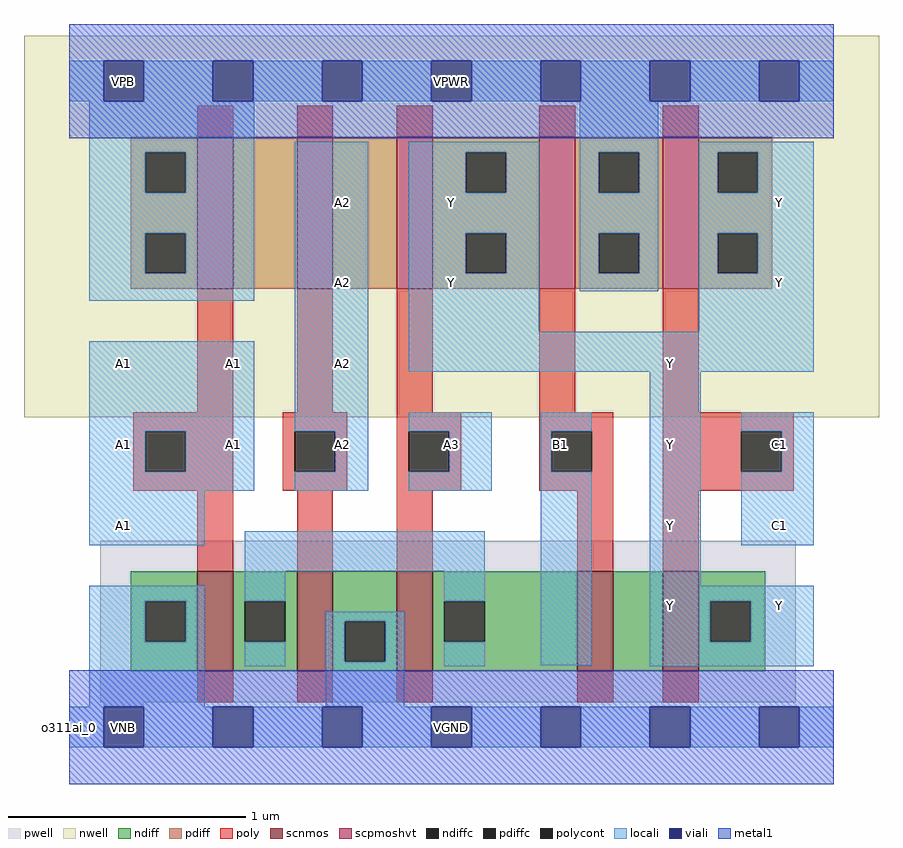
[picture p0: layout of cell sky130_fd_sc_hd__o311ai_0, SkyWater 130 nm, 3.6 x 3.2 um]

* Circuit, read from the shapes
.subckt sky130_fd_sc_hd__o311ai_0 A1 A2 A3 B1 C1 VGND VNB VPB VPWR Y
XM1 n1 A1 VGND VNB sky130_fd_pr__nfet_01v8 w=0.42 l=0.15
XM2 VGND A2 n1 VNB sky130_fd_pr__nfet_01v8 w=0.42 l=0.15
XM3 n1 A3 VGND VNB sky130_fd_pr__nfet_01v8 w=0.42 l=0.15
XM4 n2 B1 n1 VNB sky130_fd_pr__nfet_01v8 w=0.42 l=0.15
XM5 Y C1 n2 VNB sky130_fd_pr__nfet_01v8 w=0.42 l=0.15
XM6 n3 A1 VPWR VPB sky130_fd_pr__pfet_01v8_hvt w=0.64 l=0.15
XM7 n4 A2 n3 VPB sky130_fd_pr__pfet_01v8_hvt w=0.64 l=0.15
XM8 Y A3 n4 VPB sky130_fd_pr__pfet_01v8_hvt w=0.64 l=0.15
XM9 VPWR B1 Y VPB sky130_fd_pr__pfet_01v8_hvt w=0.64 l=0.15
XM10 Y C1 VPWR VPB sky130_fd_pr__pfet_01v8_hvt w=0.64 l=0.15
.ends

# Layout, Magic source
magic
tech sky130A
magscale 1 2
<< nwell >>
rect -38 261 682 582
<< pwell >>
rect 26 21 612 157
rect 29 -17 63 21
<< scnmos >>
rect 108 47 138 131
rect 192 47 222 131
rect 276 47 306 131
rect 428 47 458 131
rect 500 47 530 131
<< scpmoshvt >>
rect 108 369 138 497
rect 192 369 222 497
rect 276 369 306 497
rect 396 369 426 497
rect 500 369 530 497
<< ndiff >>
rect 52 106 108 131
rect 52 72 64 106
rect 98 72 108 106
rect 52 47 108 72
rect 138 106 192 131
rect 138 72 148 106
rect 182 72 192 106
rect 138 47 192 72
rect 222 89 276 131
rect 222 55 232 89
rect 266 55 276 89
rect 222 47 276 55
rect 306 106 428 131
rect 306 72 316 106
rect 350 72 428 106
rect 306 47 428 72
rect 458 47 500 131
rect 530 106 586 131
rect 530 72 540 106
rect 574 72 586 106
rect 530 47 586 72
<< pdiff >>
rect 52 484 108 497
rect 52 450 64 484
rect 98 450 108 484
rect 52 416 108 450
rect 52 382 64 416
rect 98 382 108 416
rect 52 369 108 382
rect 138 369 192 497
rect 222 369 276 497
rect 306 484 396 497
rect 306 450 334 484
rect 368 450 396 484
rect 306 416 396 450
rect 306 382 334 416
rect 368 382 396 416
rect 306 369 396 382
rect 426 484 500 497
rect 426 450 446 484
rect 480 450 500 484
rect 426 416 500 450
rect 426 382 446 416
rect 480 382 500 416
rect 426 369 500 382
rect 530 484 592 497
rect 530 450 546 484
rect 580 450 592 484
rect 530 416 592 450
rect 530 382 546 416
rect 580 382 592 416
rect 530 369 592 382
<< ndiffc >>
rect 64 72 98 106
rect 148 72 182 106
rect 232 55 266 89
rect 316 72 350 106
rect 540 72 574 106
<< pdiffc >>
rect 64 450 98 484
rect 64 382 98 416
rect 334 450 368 484
rect 334 382 368 416
rect 446 450 480 484
rect 446 382 480 416
rect 546 450 580 484
rect 546 382 580 416
<< poly >>
rect 108 497 138 523
rect 192 497 222 523
rect 276 497 306 523
rect 396 497 426 523
rect 500 497 530 523
rect 108 265 138 369
rect 192 265 222 369
rect 276 265 306 369
rect 396 265 426 369
rect 500 265 530 369
rect 54 249 138 265
rect 54 215 64 249
rect 98 215 138 249
rect 54 199 138 215
rect 180 249 234 265
rect 180 215 190 249
rect 224 215 234 249
rect 180 199 234 215
rect 276 249 330 265
rect 276 215 286 249
rect 320 215 330 249
rect 276 199 330 215
rect 396 249 458 265
rect 396 215 406 249
rect 440 215 458 249
rect 396 199 458 215
rect 108 131 138 199
rect 192 131 222 199
rect 276 131 306 199
rect 428 131 458 199
rect 500 249 610 265
rect 500 215 566 249
rect 600 215 610 249
rect 500 199 610 215
rect 500 131 530 199
rect 108 21 138 47
rect 192 21 222 47
rect 276 21 306 47
rect 428 21 458 47
rect 500 21 530 47
<< polycont >>
rect 64 215 98 249
rect 190 215 224 249
rect 286 215 320 249
rect 406 215 440 249
rect 566 215 600 249
<< locali >>
rect 0 527 29 561
rect 63 527 121 561
rect 155 527 213 561
rect 247 527 305 561
rect 339 527 397 561
rect 431 527 489 561
rect 523 527 581 561
rect 615 527 644 561
rect 17 484 156 527
rect 17 450 64 484
rect 98 450 156 484
rect 17 416 156 450
rect 17 382 64 416
rect 98 382 156 416
rect 17 359 156 382
rect 17 249 156 325
rect 17 215 64 249
rect 98 215 156 249
rect 17 199 156 215
rect 190 249 252 493
rect 286 484 396 493
rect 286 450 334 484
rect 368 450 396 484
rect 286 416 396 450
rect 286 382 334 416
rect 368 382 396 416
rect 286 333 396 382
rect 430 484 496 527
rect 430 450 446 484
rect 480 450 496 484
rect 430 416 496 450
rect 430 382 446 416
rect 480 382 496 416
rect 430 367 496 382
rect 530 484 627 493
rect 530 450 546 484
rect 580 450 627 484
rect 530 416 627 450
rect 530 382 546 416
rect 580 382 627 416
rect 530 333 627 382
rect 286 299 627 333
rect 224 215 252 249
rect 190 199 252 215
rect 286 249 356 265
rect 320 215 356 249
rect 286 199 356 215
rect 397 249 440 265
rect 397 215 406 249
rect 17 153 114 199
rect 148 131 350 165
rect 17 106 114 119
rect 17 72 64 106
rect 98 72 114 106
rect 17 17 114 72
rect 148 106 182 131
rect 316 106 350 131
rect 148 51 182 72
rect 216 89 282 97
rect 216 55 232 89
rect 266 55 282 89
rect 216 17 282 55
rect 316 51 350 72
rect 397 52 440 215
rect 489 119 532 299
rect 566 249 627 265
rect 600 215 627 249
rect 566 153 627 215
rect 489 106 627 119
rect 489 72 540 106
rect 574 72 627 106
rect 489 51 627 72
rect 0 -17 29 17
rect 63 -17 121 17
rect 155 -17 213 17
rect 247 -17 305 17
rect 339 -17 397 17
rect 431 -17 489 17
rect 523 -17 581 17
rect 615 -17 644 17
<< viali >>
rect 29 527 63 561
rect 121 527 155 561
rect 213 527 247 561
rect 305 527 339 561
rect 397 527 431 561
rect 489 527 523 561
rect 581 527 615 561
rect 29 -17 63 17
rect 121 -17 155 17
rect 213 -17 247 17
rect 305 -17 339 17
rect 397 -17 431 17
rect 489 -17 523 17
rect 581 -17 615 17
<< metal1 >>
rect 0 561 644 592
rect 0 527 29 561
rect 63 527 121 561
rect 155 527 213 561
rect 247 527 305 561
rect 339 527 397 561
rect 431 527 489 561
rect 523 527 581 561
rect 615 527 644 561
rect 0 496 644 527
rect 0 17 644 48
rect 0 -17 29 17
rect 63 -17 121 17
rect 155 -17 213 17
rect 247 -17 305 17
rect 339 -17 397 17
rect 431 -17 489 17
rect 523 -17 581 17
rect 615 -17 644 17
rect 0 -48 644 -17
<< labels >>
flabel locali s 213 425 247 459 0 FreeSans 200 0 0 0 A2
port 2 nsew signal input
flabel locali s 581 153 615 187 0 FreeSans 200 0 0 0 C1
port 5 nsew signal input
flabel locali s 29 153 63 187 0 FreeSans 200 0 0 0 A1
port 1 nsew signal input
flabel locali s 213 357 247 391 0 FreeSans 200 0 0 0 A2
port 2 nsew signal input
flabel locali s 213 289 247 323 0 FreeSans 200 0 0 0 A2
port 2 nsew signal input
flabel locali s 29 289 63 323 0 FreeSans 200 0 0 0 A1
port 1 nsew signal input
flabel locali s 121 289 155 323 0 FreeSans 200 0 0 0 A1
port 1 nsew signal input
flabel locali s 581 85 615 119 0 FreeSans 200 0 0 0 Y
port 10 nsew signal output
flabel locali s 29 221 63 255 0 FreeSans 200 0 0 0 A1
port 1 nsew signal input
flabel locali s 213 221 247 255 0 FreeSans 200 0 0 0 A2
port 2 nsew signal input
flabel locali s 305 221 339 255 0 FreeSans 200 0 0 0 A3
port 3 nsew signal input
flabel locali s 397 221 431 255 0 FreeSans 200 0 0 0 B1
port 4 nsew signal input
flabel locali s 581 221 615 255 0 FreeSans 200 0 0 0 C1
port 5 nsew signal input
flabel locali s 121 221 155 255 0 FreeSans 200 0 0 0 A1
port 1 nsew signal input
flabel locali s 489 153 523 187 0 FreeSans 200 0 0 0 Y
port 10 nsew signal output
flabel locali s 489 221 523 255 0 FreeSans 200 0 0 0 Y
port 10 nsew signal output
flabel locali s 489 85 523 119 0 FreeSans 200 0 0 0 Y
port 10 nsew signal output
flabel locali s 489 289 523 323 0 FreeSans 200 0 0 0 Y
port 10 nsew signal output
flabel locali s 305 357 339 391 0 FreeSans 200 0 0 0 Y
port 10 nsew signal output
flabel locali s 305 425 339 459 0 FreeSans 200 0 0 0 Y
port 10 nsew signal output
flabel locali s 581 425 615 459 0 FreeSans 200 0 0 0 Y
port 10 nsew signal output
flabel locali s 581 357 615 391 0 FreeSans 200 0 0 0 Y
port 10 nsew signal output
flabel nwell s 29 527 63 561 0 FreeSans 200 0 0 0 VPB
port 8 nsew power bidirectional
flabel pwell s 29 -17 63 17 0 FreeSans 200 0 0 0 VNB
port 7 nsew ground bidirectional
flabel metal1 s 29 -17 63 17 0 FreeSans 200 0 0 0 VGND
port 6 nsew ground bidirectional abutment
flabel metal1 s 29 527 63 561 0 FreeSans 200 0 0 0 VPWR
port 9 nsew power bidirectional abutment
rlabel comment s 0 0 0 0 4 o311ai_0
rlabel metal1 s 0 -48 644 48 1 VGND
port 6 nsew ground bidirectional abutment
rlabel metal1 s 0 496 644 592 1 VPWR
port 9 nsew power bidirectional abutment
<< properties >>
string FIXED_BBOX 0 0 644 544
string GDS_END 916578
string GDS_FILE $PDKPATH/libs.ref/sky130_fd_sc_hd/gds/sky130_fd_sc_hd.gds
string GDS_START 909152
string LEFclass CORE
string LEFsite unithd
string LEFsymmetry X Y R90
string path 0.000 0.000 3.220 0.000 
<< end >>
